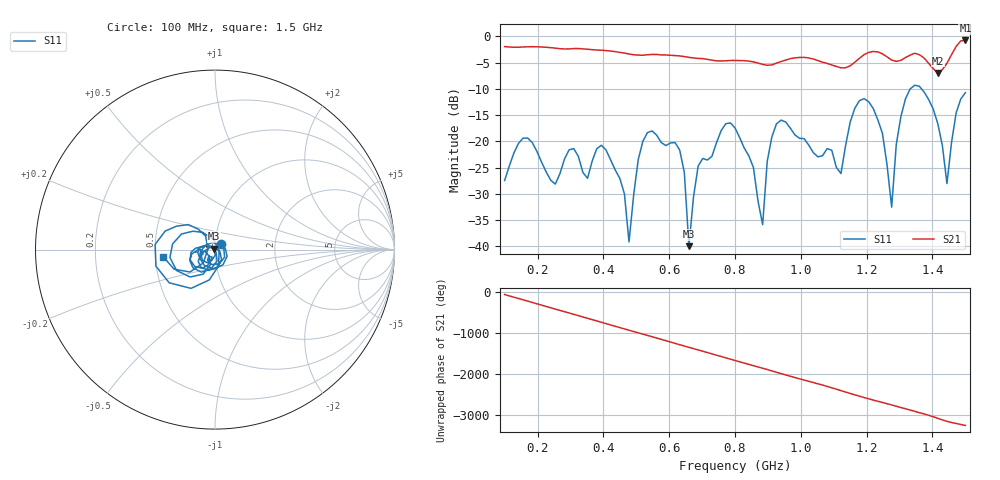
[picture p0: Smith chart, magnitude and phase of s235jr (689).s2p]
! NanoVNA-App
! Date: 2025-09-25 15:09:32
! Start: 100MHz Stop: 1,5GHz Points: 101
! S-Parameter data: F S11 S21 S12 S22
# Hz S RI R 50
!  Frequency  S11_Real  S11_Imag  S21_Real  S21_Imag  S12_Real  S12_Imag  S22_Real  S22_Imag
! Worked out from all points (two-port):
!   101 points, 100 MHz to 1.5 GHz, reference 50 ohm
!   highest |S21| = -0.79 dB at 1.5 GHz (marker M1); lowest = -7.0 dB at 1.416 GHz (marker M2)
!   |S21| within 3 dB of the highest: start of sweep to 638.1 MHz; 1.186 GHz to 1.259 GHz (72.8 MHz wide, 5.95 % of centre) (the widest 2 of 4)
!   lowest |S11| = -40.0 dB at 660 MHz (marker M3), VSWR 1.02, Z = 49.2 + j0.58 ohm
!   |S11| at or under -10 dB: start of sweep to 1.333 GHz; 1.367 GHz to end of sweep
!   S12 and S22 are empty: the file has one direction only
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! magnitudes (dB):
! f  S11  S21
! 100 MHz  -27.5  -2.0
! 156 MHz  -19.4  -2.0
! 338 MHz  -25.9  -2.4
! 408 MHz  -21.6  -2.7
! 478 MHz  -39.2  -3.4
! 520 MHz  -20.0  -3.6
! 576 MHz  -20.2  -3.5
! 632 MHz  -21.7  -3.7
! 660 MHz  -40.0  -4.0
! 688 MHz  -24.7  -4.2
! 800 MHz  -17.4  -4.6
! 884 MHz  -35.9  -5.4
! 926 MHz  -16.7  -5.1
! 1.038 GHz  -22.2  -4.3
! 1.122 GHz  -26.1  -6.0
! 1.206 GHz  -12.4  -3.1
! 1.276 GHz  -32.5  -4.5
! 1.29 GHz  -20.6  -4.8
! 1.332 GHz  -10.0  -3.6
! 1.416 GHz  -16.6  -7.0
! 1.444 GHz  -28.0  -5.1
! 1.5 GHz  -10.7  -0.8
